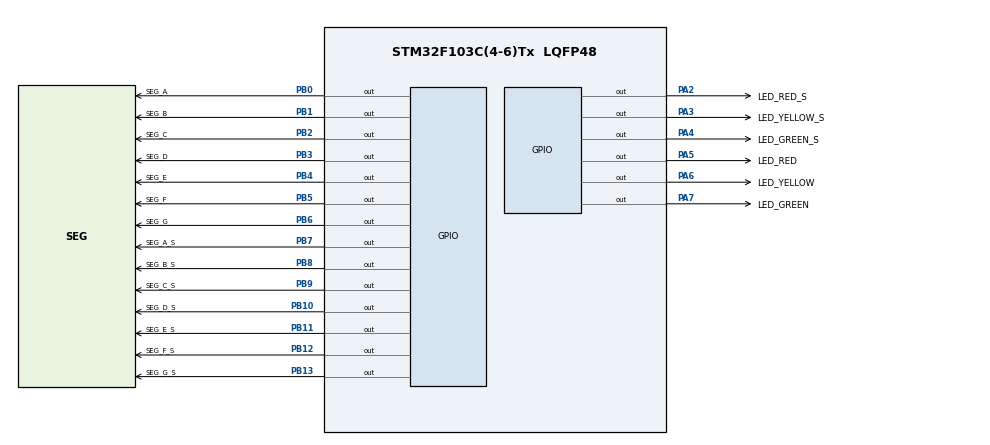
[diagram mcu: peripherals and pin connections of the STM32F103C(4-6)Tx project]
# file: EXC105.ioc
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Mcu.Family=STM32F1
Mcu.Name=STM32F103C(4-6)Tx
Mcu.Package=LQFP48
NVIC.PriorityGroup=NVIC_PRIORITYGROUP_4
PA2.GPIO_Label=LED_RED_S
PA2.Signal=GPIO_Output
PA3.GPIO_Label=LED_YELLOW_S
PA3.Signal=GPIO_Output
PA4.GPIO_Label=LED_GREEN_S
PA4.Signal=GPIO_Output
PA5.GPIO_Label=LED_RED
PA5.Signal=GPIO_Output
PA6.GPIO_Label=LED_YELLOW
PA6.Signal=GPIO_Output
PA7.GPIO_Label=LED_GREEN
PA7.Signal=GPIO_Output
PB0.GPIO_Label=SEG_A
PB0.Signal=GPIO_Output
PB1.GPIO_Label=SEG_B
PB1.Signal=GPIO_Output
PB10.GPIO_Label=SEG_D_S
PB10.Signal=GPIO_Output
PB11.GPIO_Label=SEG_E_S
PB11.Signal=GPIO_Output
PB12.GPIO_Label=SEG_F_S
PB12.Signal=GPIO_Output
PB13.GPIO_Label=SEG_G_S
PB13.Signal=GPIO_Output
PB2.GPIO_Label=SEG_C
PB2.Signal=GPIO_Output
PB3.GPIO_Label=SEG_D
PB3.Signal=GPIO_Output
PB4.GPIO_Label=SEG_E
PB4.Signal=GPIO_Output
PB5.GPIO_Label=SEG_F
PB5.Signal=GPIO_Output
PB6.GPIO_Label=SEG_G
PB6.Signal=GPIO_Output
PB7.GPIO_Label=SEG_A_S
PB7.Signal=GPIO_Output
PB8.GPIO_Label=SEG_B_S
PB8.Signal=GPIO_Output
PB9.GPIO_Label=SEG_C_S
PB9.Signal=GPIO_Output
ProjectManager.HeapSize=0x200
ProjectManager.StackSize=0x400
ProjectManager.TargetToolchain=STM32CubeIDE
RCC.APB1Freq_Value=8000000
RCC.APB2Freq_Value=8000000
board=custom

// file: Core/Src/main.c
/* USER CODE BEGIN Header */
/**
  ******************************************************************************
  * @file           : main.c
  * @brief          : Main program body
  ******************************************************************************
  * @attention
  *
  * Copyright (c) 2022 STMicroelectronics.
  * All rights reserved.
  *
  * This software is licensed under terms that can be found in the LICENSE file
  * in the root directory of this software component.
  * If no LICENSE file comes with this software, it is provided AS-IS.
  *
  ******************************************************************************
  */
/* USER CODE END Header */
#include "main.h"

/* USER CODE BEGIN Includes */
const int redTime =5;
const int yellowTime = 2;
const int greenTime = 3;

typedef enum LEDState {
	off,on
} eLEDState;

typedef enum ColorState {
	red, yellow, green
} eColorState;

void SwitchRed (eLEDState state){
	if (state == on){
		HAL_GPIO_WritePin(LED_RED_GPIO_Port, LED_RED_Pin, RESET);
	}
	if (state == off) {
		HAL_GPIO_WritePin(LED_RED_GPIO_Port, LED_RED_Pin, SET);
	}
}

void SwitchYellow (eLEDState state){
	if (state == on){
		HAL_GPIO_WritePin(LED_YELLOW_GPIO_Port, LED_YELLOW_Pin, RESET);
	}
	if (state == off) {
		HAL_GPIO_WritePin(LED_YELLOW_GPIO_Port, LED_YELLOW_Pin, SET);
	}
}

void SwitchGreen (eLEDState state){
	if (state == on){
		HAL_GPIO_WritePin(LED_GREEN_GPIO_Port, LED_GREEN_Pin, RESET);
	}
	if (state == off) {
		HAL_GPIO_WritePin(LED_GREEN_GPIO_Port, LED_GREEN_Pin, SET);
	}
}

void SwitchRedS (eLEDState state){
	if (state == on){
		HAL_GPIO_WritePin(LED_RED_S_GPIO_Port, LED_RED_S_Pin, RESET);
	}
	if (state == off) {
		HAL_GPIO_WritePin(LED_RED_S_GPIO_Port, LED_RED_S_Pin, SET);
	}
}

void SwitchYellowS (eLEDState state){
	if (state == on){
		HAL_GPIO_WritePin(LED_YELLOW_S_GPIO_Port, LED_YELLOW_S_Pin, RESET);
	}
	if (state == off) {
		HAL_GPIO_WritePin(LED_YELLOW_S_GPIO_Port, LED_YELLOW_S_Pin, SET);
	}
}

void SwitchGreenS (eLEDState state){
	if (state == on){
		HAL_GPIO_WritePin(LED_GREEN_S_GPIO_Port, LED_GREEN_S_Pin, RESET);
	}
	if (state == off) {
		HAL_GPIO_WritePin(LED_GREEN_S_GPIO_Port, LED_GREEN_S_Pin, SET);
	}
}

// 7 Segments section

void Display7Seg(int num);
void Display7SegS(int num);
/* USER CODE END Includes */

void SystemClock_Config(void);
static void MX_GPIO_Init(void);

int main(void)
{

  /* MCU Configuration--------------------------------------------------------*/

  /* Reset of all peripherals, Initializes the Flash interface and the Systick. */
  HAL_Init();

  /* Configure the system clock */
  SystemClock_Config();

  /* Initialize all configured peripherals */
  MX_GPIO_Init();

  /* Infinite loop */
  /* USER CODE BEGIN WHILE */
  int counter0 = 0;
      eColorState currentState0 = yellow;

      int counter1 = 0;
      eColorState currentState1 = red;

    while (1)
    {
      /* USER CODE END WHILE */
  	  //top-bottom
    	Display7Seg(counter0);
    	Display7SegS(counter1);
  	  eColorState nextState0;
  	  eColorState nextState1;
  	  if (counter0 == 0){
  		  if (currentState0 == red) {
  			  //red to green
  			  nextState0 = green;
  			  counter0 = greenTime;
  			  SwitchRed(off);
  			  SwitchYellow(off);
  			  SwitchGreen(on);
  		  }
  		  if (currentState0 == yellow) {
  			  //yellow to red
  			  nextState0 = red;
  			  counter0 = redTime;
  			  SwitchRed(on);
  			  SwitchYellow(off);
  			  SwitchGreen(off);
  		  }
  		  if (currentState0 == green) {
  			  //green to yellow
  			  nextState0 = yellow;
  			  counter0 = yellowTime;
  			  SwitchRed(off);
  			  SwitchYellow(on);
  			  SwitchGreen(off);
  		  }

  	  }

  	  if (counter0 > 0) {
  		  counter0--;
  	  }
  	  currentState0 = nextState0;

  	  //left-right
  	  if (counter1 == 0){
  		  if (currentState1 == red) {
  			  //red to green
  			  nextState1 = green;
  			  counter1 = greenTime;
  			  SwitchRedS(off);
  			  SwitchYellowS(off);
  			  SwitchGreenS(on);
  		  }
  		  if (currentState1 == yellow) {
  			  //yellow to red
  			  nextState1 = red;
  			  counter1 = redTime;
  			  SwitchRedS(on);
  			  SwitchYellowS(off);
  			  SwitchGreenS(off);
  		  }
  		  if (currentState1 == green) {
  			  //green to yellow
  			  nextState1 = yellow;
  			  counter1 = yellowTime;
  			  SwitchRedS(off);
  			  SwitchYellowS(on);
  			  SwitchGreenS(off);
  		  }
  	  }

  	  if (counter1 > 0) {
  		  counter1--;
  	  }
  	  currentState1 = nextState1;

  	  HAL_Delay(1000);
    }
}

void Display7Seg(int num){
	switch (num) {
	case 0:
		HAL_GPIO_WritePin(SEG_A_GPIO_Port, SEG_A_Pin, RESET);
		HAL_GPIO_WritePin(SEG_B_GPIO_Port, SEG_B_Pin, RESET);
		HAL_GPIO_WritePin(SEG_C_GPIO_Port, SEG_C_Pin, RESET);
		HAL_GPIO_WritePin(SEG_D_GPIO_Port, SEG_D_Pin, RESET);
		HAL_GPIO_WritePin(SEG_E_GPIO_Port, SEG_E_Pin, RESET);
		HAL_GPIO_WritePin(SEG_F_GPIO_Port, SEG_F_Pin, RESET);
		HAL_GPIO_WritePin(SEG_G_GPIO_Port, SEG_G_Pin, SET);
		break;
	case 1:
		HAL_GPIO_WritePin(SEG_A_GPIO_Port, SEG_A_Pin, SET);
		HAL_GPIO_WritePin(SEG_B_GPIO_Port, SEG_B_Pin, RESET);
		HAL_GPIO_WritePin(SEG_C_GPIO_Port, SEG_C_Pin, RESET);
		HAL_GPIO_WritePin(SEG_D_GPIO_Port, SEG_D_Pin, SET);
		HAL_GPIO_WritePin(SEG_E_GPIO_Port, SEG_E_Pin, SET);
		HAL_GPIO_WritePin(SEG_F_GPIO_Port, SEG_F_Pin, SET);
		HAL_GPIO_WritePin(SEG_G_GPIO_Port, SEG_G_Pin, SET);
		break;
	case 2:
		HAL_GPIO_WritePin(SEG_A_GPIO_Port, SEG_A_Pin, RESET);
		HAL_GPIO_WritePin(SEG_B_GPIO_Port, SEG_B_Pin, RESET);
		HAL_GPIO_WritePin(SEG_C_GPIO_Port, SEG_C_Pin, SET);
		HAL_GPIO_WritePin(SEG_D_GPIO_Port, SEG_D_Pin, RESET);
		HAL_GPIO_WritePin(SEG_E_GPIO_Port, SEG_E_Pin, RESET);
		HAL_GPIO_WritePin(SEG_F_GPIO_Port, SEG_F_Pin, SET);
		HAL_GPIO_WritePin(SEG_G_GPIO_Port, SEG_G_Pin, RESET);
		break;
	case 3:
		HAL_GPIO_WritePin(SEG_A_GPIO_Port, SEG_A_Pin, RESET);
		HAL_GPIO_WritePin(SEG_B_GPIO_Port, SEG_B_Pin, RESET);
		HAL_GPIO_WritePin(SEG_C_GPIO_Port, SEG_C_Pin, RESET);
		HAL_GPIO_WritePin(SEG_D_GPIO_Port, SEG_D_Pin, RESET);
		HAL_GPIO_WritePin(SEG_E_GPIO_Port, SEG_E_Pin, SET);
		HAL_GPIO_WritePin(SEG_F_GPIO_Port, SEG_F_Pin, SET);
		HAL_GPIO_WritePin(SEG_G_GPIO_Port, SEG_G_Pin, RESET);
		break;
	case 4:
		HAL_GPIO_WritePin(SEG_A_GPIO_Port, SEG_A_Pin, SET);
		HAL_GPIO_WritePin(SEG_B_GPIO_Port, SEG_B_Pin, RESET);
		HAL_GPIO_WritePin(SEG_C_GPIO_Port, SEG_C_Pin, RESET);
		HAL_GPIO_WritePin(SEG_D_GPIO_Port, SEG_D_Pin, SET);
		HAL_GPIO_WritePin(SEG_E_GPIO_Port, SEG_E_Pin, SET);
		HAL_GPIO_WritePin(SEG_F_GPIO_Port, SEG_F_Pin, RESET);
		HAL_GPIO_WritePin(SEG_G_GPIO_Port, SEG_G_Pin, RESET);
		break;
	case 5:
		HAL_GPIO_WritePin(SEG_A_GPIO_Port, SEG_A_Pin, RESET);
		HAL_GPIO_WritePin(SEG_B_GPIO_Port, SEG_B_Pin, SET);
		HAL_GPIO_WritePin(SEG_C_GPIO_Port, SEG_C_Pin, RESET);
		HAL_GPIO_WritePin(SEG_D_GPIO_Port, SEG_D_Pin, RESET);
		HAL_GPIO_WritePin(SEG_E_GPIO_Port, SEG_E_Pin, SET);
		HAL_GPIO_WritePin(SEG_F_GPIO_Port, SEG_F_Pin, RESET);
		HAL_GPIO_WritePin(SEG_G_GPIO_Port, SEG_G_Pin, RESET);
		break;
	case 6:
		HAL_GPIO_WritePin(SEG_A_GPIO_Port, SEG_A_Pin, RESET);
		HAL_GPIO_WritePin(SEG_B_GPIO_Port, SEG_B_Pin, SET);
		HAL_GPIO_WritePin(SEG_C_GPIO_Port, SEG_C_Pin, RESET);
		HAL_GPIO_WritePin(SEG_D_GPIO_Port, SEG_D_Pin, RESET);
		HAL_GPIO_WritePin(SEG_E_GPIO_Port, SEG_E_Pin, RESET);
		HAL_GPIO_WritePin(SEG_F_GPIO_Port, SEG_F_Pin, RESET);
		HAL_GPIO_WritePin(SEG_G_GPIO_Port, SEG_G_Pin, RESET);
		break;
	case 7:
		HAL_GPIO_WritePin(SEG_A_GPIO_Port, SEG_A_Pin, RESET);
		HAL_GPIO_WritePin(SEG_B_GPIO_Port, SEG_B_Pin, RESET);
		HAL_GPIO_WritePin(SEG_C_GPIO_Port, SEG_C_Pin, RESET);
		HAL_GPIO_WritePin(SEG_D_GPIO_Port, SEG_D_Pin, SET);
		HAL_GPIO_WritePin(SEG_E_GPIO_Port, SEG_E_Pin, SET);
		HAL_GPIO_WritePin(SEG_F_GPIO_Port, SEG_F_Pin, SET);
		HAL_GPIO_WritePin(SEG_G_GPIO_Port, SEG_G_Pin, SET);
		break;
	case 8:
		HAL_GPIO_WritePin(SEG_A_GPIO_Port, SEG_A_Pin, RESET);
		HAL_GPIO_WritePin(SEG_B_GPIO_Port, SEG_B_Pin, RESET);
		HAL_GPIO_WritePin(SEG_C_GPIO_Port, SEG_C_Pin, RESET);
		HAL_GPIO_WritePin(SEG_D_GPIO_Port, SEG_D_Pin, RESET);
		HAL_GPIO_WritePin(SEG_E_GPIO_Port, SEG_E_Pin, RESET);
		HAL_GPIO_WritePin(SEG_F_GPIO_Port, SEG_F_Pin, RESET);
		HAL_GPIO_WritePin(SEG_G_GPIO_Port, SEG_G_Pin, RESET);
		break;
	case 9:
		HAL_GPIO_WritePin(SEG_A_GPIO_Port, SEG_A_Pin, RESET);
		HAL_GPIO_WritePin(SEG_B_GPIO_Port, SEG_B_Pin, RESET);
		HAL_GPIO_WritePin(SEG_C_GPIO_Port, SEG_C_Pin, RESET);
		HAL_GPIO_WritePin(SEG_D_GPIO_Port, SEG_D_Pin, RESET);
		HAL_GPIO_WritePin(SEG_E_GPIO_Port, SEG_E_Pin, SET);
		HAL_GPIO_WritePin(SEG_F_GPIO_Port, SEG_F_Pin, RESET);
		HAL_GPIO_WritePin(SEG_G_GPIO_Port, SEG_G_Pin, RESET);
		break;
	default:
		break;
	}
}

void Display7SegS(int num){
	switch (num) {
	case 0:
		HAL_GPIO_WritePin(SEG_A_S_GPIO_Port, SEG_A_S_Pin, RESET);
		HAL_GPIO_WritePin(SEG_B_S_GPIO_Port, SEG_B_S_Pin, RESET);
		HAL_GPIO_WritePin(SEG_C_S_GPIO_Port, SEG_C_S_Pin, RESET);
		HAL_GPIO_WritePin(SEG_D_S_GPIO_Port, SEG_D_S_Pin, RESET);
		HAL_GPIO_WritePin(SEG_E_S_GPIO_Port, SEG_E_S_Pin, RESET);
		HAL_GPIO_WritePin(SEG_F_S_GPIO_Port, SEG_F_S_Pin, RESET);
		HAL_GPIO_WritePin(SEG_G_S_GPIO_Port, SEG_G_S_Pin, SET);
		break;
	case 1:
		HAL_GPIO_WritePin(SEG_A_S_GPIO_Port, SEG_A_S_Pin, SET);
		HAL_GPIO_WritePin(SEG_B_S_GPIO_Port, SEG_B_S_Pin, RESET);
		HAL_GPIO_WritePin(SEG_C_S_GPIO_Port, SEG_C_S_Pin, RESET);
		HAL_GPIO_WritePin(SEG_D_S_GPIO_Port, SEG_D_S_Pin, SET);
		HAL_GPIO_WritePin(SEG_E_S_GPIO_Port, SEG_E_S_Pin, SET);
		HAL_GPIO_WritePin(SEG_F_S_GPIO_Port, SEG_F_S_Pin, SET);
		HAL_GPIO_WritePin(SEG_G_S_GPIO_Port, SEG_G_S_Pin, SET);
		break;
	case 2:
		HAL_GPIO_WritePin(SEG_A_S_GPIO_Port, SEG_A_S_Pin, RESET);
		HAL_GPIO_WritePin(SEG_B_S_GPIO_Port, SEG_B_S_Pin, RESET);
		HAL_GPIO_WritePin(SEG_C_S_GPIO_Port, SEG_C_S_Pin, SET);
		HAL_GPIO_WritePin(SEG_D_S_GPIO_Port, SEG_D_S_Pin, RESET);
		HAL_GPIO_WritePin(SEG_E_S_GPIO_Port, SEG_E_S_Pin, RESET);
		HAL_GPIO_WritePin(SEG_F_S_GPIO_Port, SEG_F_S_Pin, SET);
		HAL_GPIO_WritePin(SEG_G_S_GPIO_Port, SEG_G_S_Pin, RESET);
		break;
	case 3:
		HAL_GPIO_WritePin(SEG_A_S_GPIO_Port, SEG_A_S_Pin, RESET);
		HAL_GPIO_WritePin(SEG_B_S_GPIO_Port, SEG_B_S_Pin, RESET);
		HAL_GPIO_WritePin(SEG_C_S_GPIO_Port, SEG_C_S_Pin, RESET);
		HAL_GPIO_WritePin(SEG_D_S_GPIO_Port, SEG_D_S_Pin, RESET);
		HAL_GPIO_WritePin(SEG_E_S_GPIO_Port, SEG_E_S_Pin, SET);
		HAL_GPIO_WritePin(SEG_F_S_GPIO_Port, SEG_F_S_Pin, SET);
		HAL_GPIO_WritePin(SEG_G_S_GPIO_Port, SEG_G_S_Pin, RESET);
		break;
	case 4:
		HAL_GPIO_WritePin(SEG_A_S_GPIO_Port, SEG_A_S_Pin, SET);
		HAL_GPIO_WritePin(SEG_B_S_GPIO_Port, SEG_B_S_Pin, RESET);
		HAL_GPIO_WritePin(SEG_C_S_GPIO_Port, SEG_C_S_Pin, RESET);
		HAL_GPIO_WritePin(SEG_D_S_GPIO_Port, SEG_D_S_Pin, SET);
		HAL_GPIO_WritePin(SEG_E_S_GPIO_Port, SEG_E_S_Pin, SET);
		HAL_GPIO_WritePin(SEG_F_S_GPIO_Port, SEG_F_S_Pin, RESET);
		HAL_GPIO_WritePin(SEG_G_S_GPIO_Port, SEG_G_S_Pin, RESET);
		break;
	case 5:
		HAL_GPIO_WritePin(SEG_A_S_GPIO_Port, SEG_A_S_Pin, RESET);
		HAL_GPIO_WritePin(SEG_B_S_GPIO_Port, SEG_B_S_Pin, SET);
		HAL_GPIO_WritePin(SEG_C_S_GPIO_Port, SEG_C_S_Pin, RESET);
		HAL_GPIO_WritePin(SEG_D_S_GPIO_Port, SEG_D_S_Pin, RESET);
		HAL_GPIO_WritePin(SEG_E_S_GPIO_Port, SEG_E_S_Pin, SET);
		HAL_GPIO_WritePin(SEG_F_S_GPIO_Port, SEG_F_S_Pin, RESET);
		HAL_GPIO_WritePin(SEG_G_S_GPIO_Port, SEG_G_S_Pin, RESET);
		break;
	case 6:
		HAL_GPIO_WritePin(SEG_A_S_GPIO_Port, SEG_A_S_Pin, RESET);
		HAL_GPIO_WritePin(SEG_B_S_GPIO_Port, SEG_B_S_Pin, SET);
		HAL_GPIO_WritePin(SEG_C_S_GPIO_Port, SEG_C_S_Pin, RESET);
		HAL_GPIO_WritePin(SEG_D_S_GPIO_Port, SEG_D_S_Pin, RESET);
		HAL_GPIO_WritePin(SEG_E_S_GPIO_Port, SEG_E_S_Pin, RESET);
		HAL_GPIO_WritePin(SEG_F_S_GPIO_Port, SEG_F_S_Pin, RESET);
		HAL_GPIO_WritePin(SEG_G_S_GPIO_Port, SEG_G_S_Pin, RESET);
		break;
	case 7:
		HAL_GPIO_WritePin(SEG_A_S_GPIO_Port, SEG_A_S_Pin, RESET);
		HAL_GPIO_WritePin(SEG_B_S_GPIO_Port, SEG_B_S_Pin, RESET);
		HAL_GPIO_WritePin(SEG_C_S_GPIO_Port, SEG_C_S_Pin, RESET);
		HAL_GPIO_WritePin(SEG_D_S_GPIO_Port, SEG_D_S_Pin, SET);
		HAL_GPIO_WritePin(SEG_E_S_GPIO_Port, SEG_E_S_Pin, SET);
		HAL_GPIO_WritePin(SEG_F_S_GPIO_Port, SEG_F_S_Pin, SET);
		HAL_GPIO_WritePin(SEG_G_S_GPIO_Port, SEG_G_S_Pin, SET);
		break;
	case 8:
		HAL_GPIO_WritePin(SEG_A_S_GPIO_Port, SEG_A_S_Pin, RESET);
		HAL_GPIO_WritePin(SEG_B_S_GPIO_Port, SEG_B_S_Pin, RESET);
		HAL_GPIO_WritePin(SEG_C_S_GPIO_Port, SEG_C_S_Pin, RESET);
		HAL_GPIO_WritePin(SEG_D_S_GPIO_Port, SEG_D_S_Pin, RESET);
		HAL_GPIO_WritePin(SEG_E_S_GPIO_Port, SEG_E_S_Pin, RESET);
		HAL_GPIO_WritePin(SEG_F_S_GPIO_Port, SEG_F_S_Pin, RESET);
		HAL_GPIO_WritePin(SEG_G_S_GPIO_Port, SEG_G_S_Pin, RESET);
		break;
	case 9:
		HAL_GPIO_WritePin(SEG_A_S_GPIO_Port, SEG_A_S_Pin, RESET);
		HAL_GPIO_WritePin(SEG_B_S_GPIO_Port, SEG_B_S_Pin, RESET);
		HAL_GPIO_WritePin(SEG_C_S_GPIO_Port, SEG_C_S_Pin, RESET);
		HAL_GPIO_WritePin(SEG_D_S_GPIO_Port, SEG_D_S_Pin, RESET);
		HAL_GPIO_WritePin(SEG_E_S_GPIO_Port, SEG_E_S_Pin, SET);
		HAL_GPIO_WritePin(SEG_F_S_GPIO_Port, SEG_F_S_Pin, RESET);
		HAL_GPIO_WritePin(SEG_G_S_GPIO_Port, SEG_G_S_Pin, RESET);
		break;
	default:
		break;
	}
}
void SystemClock_Config(void)
{
  RCC_OscInitTypeDef RCC_OscInitStruct = {0};
  RCC_ClkInitTypeDef RCC_ClkInitStruct = {0};

  /** Initializes the RCC Oscillators according to the specified parameters
  * in the RCC_OscInitTypeDef structure.
  */
  RCC_OscInitStruct.OscillatorType = RCC_OSCILLATORTYPE_HSI;
  RCC_OscInitStruct.HSIState = RCC_HSI_ON;
  RCC_OscInitStruct.HSICalibrationValue = RCC_HSICALIBRATION_DEFAULT;
  RCC_OscInitStruct.PLL.PLLState = RCC_PLL_NONE;
  if (HAL_RCC_OscConfig(&RCC_OscInitStruct) != HAL_OK)
  {
    Error_Handler();
  }

  /** Initializes the CPU, AHB and APB buses clocks
  */
  RCC_ClkInitStruct.ClockType = RCC_CLOCKTYPE_HCLK|RCC_CLOCKTYPE_SYSCLK
                              |RCC_CLOCKTYPE_PCLK1|RCC_CLOCKTYPE_PCLK2;
  RCC_ClkInitStruct.SYSCLKSource = RCC_SYSCLKSOURCE_HSI;
  RCC_ClkInitStruct.AHBCLKDivider = RCC_SYSCLK_DIV1;
  RCC_ClkInitStruct.APB1CLKDivider = RCC_HCLK_DIV1;
  RCC_ClkInitStruct.APB2CLKDivider = RCC_HCLK_DIV1;

  if (HAL_RCC_ClockConfig(&RCC_ClkInitStruct, FLASH_LATENCY_0) != HAL_OK)
  {
    Error_Handler();
  }
}

static void MX_GPIO_Init(void)
{
  GPIO_InitTypeDef GPIO_InitStruct = {0};

  /* GPIO Ports Clock Enable */
  __HAL_RCC_GPIOA_CLK_ENABLE();
  __HAL_RCC_GPIOB_CLK_ENABLE();

  /*Configure GPIO pin Output Level */
  HAL_GPIO_WritePin(GPIOA, LED_RED_S_Pin|LED_YELLOW_S_Pin|LED_GREEN_S_Pin|LED_RED_Pin
                          |LED_YELLOW_Pin|LED_GREEN_Pin, GPIO_PIN_RESET);

  /*Configure GPIO pin Output Level */
  HAL_GPIO_WritePin(GPIOB, SEG_A_Pin|SEG_B_Pin|SEG_C_Pin|SEG_D_S_Pin
                          |SEG_E_S_Pin|SEG_F_S_Pin|SEG_G_S_Pin|SEG_D_Pin
                          |SEG_E_Pin|SEG_F_Pin|SEG_G_Pin|SEG_A_S_Pin
                          |SEG_B_S_Pin|SEG_C_S_Pin, GPIO_PIN_RESET);

  /*Configure GPIO pins : LED_RED_S_Pin LED_YELLOW_S_Pin LED_GREEN_S_Pin LED_RED_Pin
                           LED_YELLOW_Pin LED_GREEN_Pin */
  GPIO_InitStruct.Pin = LED_RED_S_Pin|LED_YELLOW_S_Pin|LED_GREEN_S_Pin|LED_RED_Pin
                          |LED_YELLOW_Pin|LED_GREEN_Pin;
  GPIO_InitStruct.Mode = GPIO_MODE_OUTPUT_PP;
  GPIO_InitStruct.Pull = GPIO_NOPULL;
  GPIO_InitStruct.Speed = GPIO_SPEED_FREQ_LOW;
  HAL_GPIO_Init(GPIOA, &GPIO_InitStruct);

  /*Configure GPIO pins : SEG_A_Pin SEG_B_Pin SEG_C_Pin SEG_D_S_Pin
                           SEG_E_S_Pin SEG_F_S_Pin SEG_G_S_Pin SEG_D_Pin
                           SEG_E_Pin SEG_F_Pin SEG_G_Pin SEG_A_S_Pin
                           SEG_B_S_Pin SEG_C_S_Pin */
  GPIO_InitStruct.Pin = SEG_A_Pin|SEG_B_Pin|SEG_C_Pin|SEG_D_S_Pin
                          |SEG_E_S_Pin|SEG_F_S_Pin|SEG_G_S_Pin|SEG_D_Pin
                          |SEG_E_Pin|SEG_F_Pin|SEG_G_Pin|SEG_A_S_Pin
                          |SEG_B_S_Pin|SEG_C_S_Pin;
  GPIO_InitStruct.Mode = GPIO_MODE_OUTPUT_PP;
  GPIO_InitStruct.Pull = GPIO_NOPULL;
  GPIO_InitStruct.Speed = GPIO_SPEED_FREQ_LOW;
  HAL_GPIO_Init(GPIOB, &GPIO_InitStruct);

}

void Error_Handler(void)
{
  __disable_irq();
  while (1)
  {
  }
}
